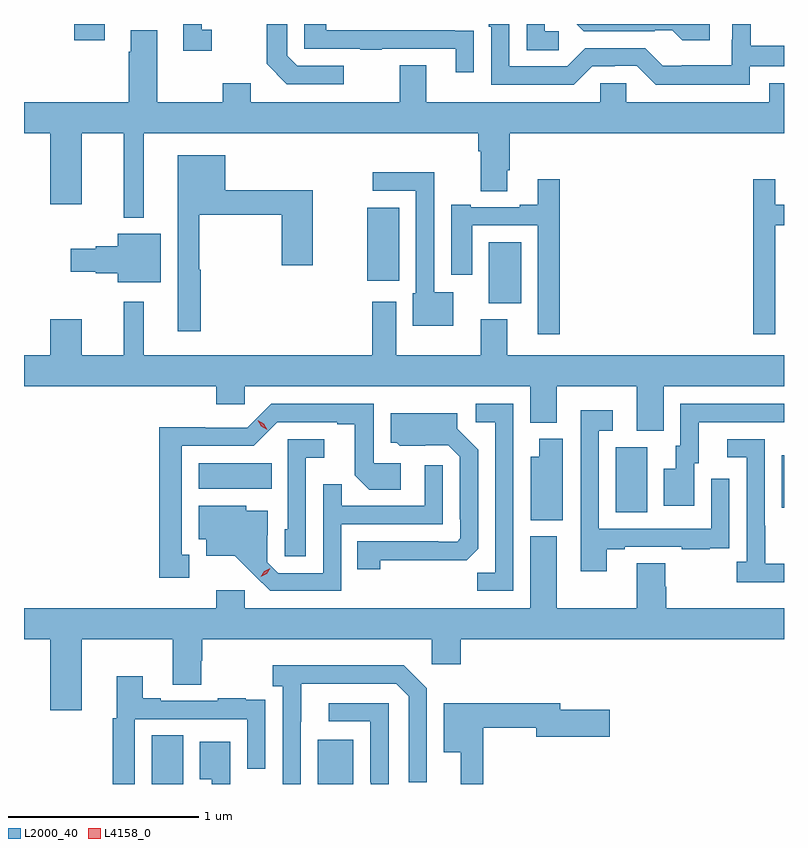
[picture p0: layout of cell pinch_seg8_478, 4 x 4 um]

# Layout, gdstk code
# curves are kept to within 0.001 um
import gdstk
lib = gdstk.Library(unit=1e-6, precision=1e-09)
def R(c, l, rs):  # rectangles x0, y0, x1, y1
    for r in rs: c.add(gdstk.rectangle(r[:2], r[2:], *l))
def P(c, l, *ps):  # polygons
    for p in ps: c.add(gdstk.Polygon(p, *l))
L2000_40 = (2000, 40)
L4158_0 = (4158, 0)

pinch_seg8_478 = lib.new_cell('pinch_seg8_478')
R(pinch_seg8_478, L2000_40, [(177.53,1134.387,177.694,1134.644), (178.403,1134.387,178.591,1134.619), (179.972,1135.816,180.136,1136.16), (180.845,1135.841,180.857,1136.116), (177.776,1135.94,178.16,1136.074), (179.303,1136.918,179.473,1137.238), (178.664,1137.035,178.831,1137.421), (177.121,1138.302,177.283,1138.387)])
P(pinch_seg8_478, L2000_40, [(180.466,1138.387),(179.767,1138.387),(179.804,1138.35),(180.176,1138.35),(180.176,1138.353),(180.27,1138.353),(180.322,1138.301),(180.466,1138.301)],
  [(177.844,1138.358),(177.792,1138.358),(177.792,1138.387),(177.695,1138.387),(177.695,1138.245),(177.844,1138.245)],
  [(179.225,1138.352),(179.123,1138.352),(179.123,1138.353),(178.448,1138.353),(178.448,1138.387),(178.332,1138.387),(178.332,1138.257),(178.627,1138.257),(178.627,1138.252),(178.739,1138.252),(178.739,1138.257),(179.129,1138.257),(179.129,1138.134),(179.225,1138.134)],
  [(178.54,1138.167),(178.296,1138.167),(178.242,1138.221),(178.242,1138.387),(178.134,1138.387),(178.134,1138.177),(178.239,1138.071),(178.54,1138.071)],
  [(180.678,1138.164),(180.857,1138.164),(180.857,1138.273),(180.683,1138.273),(180.683,1138.387),(180.584,1138.387),(180.584,1138.305),(180.582,1138.305),(180.582,1138.171),(180.319,1138.171),(180.319,1138.167),(180.219,1138.167),(180.126,1138.26),(179.811,1138.26),(179.715,1138.164),(179.412,1138.164),(179.412,1138.387),(179.303,1138.387),(179.303,1138.373),(179.316,1138.373),(179.316,1138.068),(179.751,1138.068),(179.847,1138.164),(179.966,1138.164),(179.966,1138.167),(180.081,1138.167),(180.181,1138.067),(180.678,1138.067)],
  [(179.671,1138.35),(179.598,1138.35),(179.598,1138.387),(179.502,1138.387),(179.502,1138.249),(179.671,1138.249)],
  [(177.487,1137.812),(179.249,1137.812),(179.249,1137.716),(179.261,1137.716),(179.261,1137.508),(179.401,1137.508),(179.401,1137.616),(179.414,1137.616),(179.414,1137.812),(180.857,1137.812),(180.857,1138.075),(180.779,1138.075),(180.779,1137.976),(180.027,1137.976),(180.027,1138.074),(179.889,1138.074),(179.889,1137.976),(178.975,1137.976),(178.975,1138.171),(178.835,1138.171),(178.835,1137.976),(178.051,1137.976),(178.051,1138.075),(177.904,1138.075),(177.904,1137.976),(177.559,1137.976),(177.559,1138.354),(177.419,1138.354),(177.419,1138.241),(177.407,1138.241),(177.407,1137.976),(176.857,1137.976),(176.857,1137.812),(176.996,1137.812),(176.996,1137.438),(177.16,1137.438),(177.16,1137.812),(177.383,1137.812),(177.383,1137.368),(177.487,1137.368)],
  [(177.787,1137.093),(177.779,1137.093),(177.779,1137.382),(178.213,1137.382),(178.213,1137.117),(178.378,1137.117),(178.378,1137.511),(177.916,1137.511),(177.916,1137.697),(177.665,1137.697),(177.665,1136.769),(177.787,1136.769)],
  [(179.116,1136.974),(179.016,1136.974),(179.016,1137.608),(178.692,1137.608),(178.692,1137.51),(178.92,1137.51),(178.92,1136.97),(178.904,1136.97),(178.904,1136.798),(179.116,1136.798)],
  [(179.678,1137.571),(179.561,1137.571),(179.561,1137.436),(179.465,1137.436),(179.465,1137.423),(179.209,1137.423),(179.209,1137.436),(179.105,1137.436),(179.105,1137.066),(179.215,1137.066),(179.215,1137.327),(179.562,1137.327),(179.562,1136.754),(179.678,1136.754)],
  [(180.81,1137.327),(180.857,1137.327),(180.857,1137.436),(180.811,1137.436),(180.811,1137.571),(180.694,1137.571),(180.694,1136.754),(180.81,1136.754)],
  [(177.577,1137.283),(177.35,1137.283),(177.35,1137.218),(177.234,1137.218),(177.234,1137.205),(177.102,1137.205),(177.102,1137.083),(177.234,1137.083),(177.234,1137.076),(177.35,1137.076),(177.35,1137.029),(177.577,1137.029)],
  [(180.223,1136.48),(180.857,1136.48),(180.857,1136.644),(179.401,1136.644),(179.401,1136.833),(179.261,1136.833),(179.261,1136.644),(178.816,1136.644),(178.816,1136.926),(178.691,1136.926),(178.691,1136.644),(177.487,1136.644),(177.487,1136.926),(177.383,1136.926),(177.383,1136.644),(177.16,1136.644),(177.16,1136.833),(176.996,1136.833),(176.996,1136.644),(176.857,1136.644),(176.857,1136.48),(177.869,1136.48),(177.869,1136.387),(178.02,1136.387),(178.02,1136.48),(179.522,1136.48),(179.522,1136.288),(179.662,1136.288),(179.662,1136.48),(180.083,1136.48),(180.083,1136.245),(180.223,1136.245)],
  [(180.385,1136.076),(180.409,1136.076),(180.409,1136.292),(180.857,1136.292),(180.857,1136.388),(180.312,1136.388),(180.312,1136.166),(180.287,1136.166),(180.287,1136.047),(180.224,1136.047),(180.224,1135.851),(180.385,1135.851)],
  [(179.433,1136.388),(179.235,1136.388),(179.235,1136.292),(179.337,1136.292),(179.337,1135.499),(179.242,1135.499),(179.242,1135.404),(179.433,1135.404)],
  [(177.727,1135.593),(177.688,1135.593),(177.688,1136.166),(178.065,1136.166),(178.191,1136.292),(178.505,1136.292),(178.505,1136.28),(178.599,1136.28),(178.599,1136.012),(178.675,1135.936),(178.84,1135.936),(178.84,1136.076),(178.698,1136.076),(178.698,1136.388),(178.158,1136.388),(178.032,1136.262),(177.81,1136.262),(177.81,1136.264),(177.57,1136.264),(177.57,1135.473),(177.727,1135.473)],
  [(179.923,1135.623),(180.019,1135.623),(180.019,1135.635),(180.319,1135.635),(180.319,1135.623),(180.467,1135.623),(180.467,1135.629),(180.569,1135.629),(180.569,1135.738),(180.57,1135.738),(180.57,1135.993),(180.474,1135.993),(180.474,1135.731),(179.883,1135.731),(179.883,1136.247),(179.956,1136.247),(179.956,1136.353),(179.787,1136.353),(179.787,1135.506),(179.923,1135.506)],
  [(178.731,1135.564),(179.188,1135.565),(179.247,1135.624),(179.247,1136.146),(179.137,1136.256),(179.137,1136.338),(178.787,1136.338),(178.787,1136.184),(178.818,1136.184),(178.834,1136.168),(179.091,1136.169),(179.151,1136.109),(179.151,1135.78),(179.154,1135.78),(179.154,1135.68),(179.136,1135.662),(179.036,1135.662),(179.036,1135.665),(178.612,1135.665),(178.612,1135.518),(178.731,1135.518)],
  [(179.692,1136.203),(179.57,1136.203),(179.57,1136.11),(179.525,1136.11),(179.525,1135.775),(179.692,1135.775)],
  [(178.341,1136.105),(178.438,1136.105),(178.438,1136.202),(178.245,1136.202),(178.245,1135.728),(178.23,1135.728),(178.23,1135.585),(178.341,1135.585)],
  [(180.857,1135.545),(180.757,1135.545),(180.757,1135.745),(180.756,1135.745),(180.756,1136.202),(180.558,1136.202),(180.558,1136.106),(180.66,1136.106),(180.66,1135.558),(180.609,1135.558),(180.609,1135.448),(180.857,1135.448)],
  [(178.527,1135.755),(179.061,1135.755),(179.061,1136.065),(178.965,1136.065),(178.965,1135.851),(178.529,1135.851),(178.529,1135.964),(178.431,1135.964),(178.431,1135.497),(178.194,1135.497),(178.137,1135.554),(178.137,1135.696),(178.141,1135.696),(178.141,1135.825),(178.026,1135.825),(178.026,1135.852),(177.776,1135.852),(177.776,1135.676),(177.815,1135.676),(177.815,1135.589),(177.967,1135.589),(178.154,1135.404),(178.527,1135.404)],
  [(177.16,1135.148),(177.641,1135.148),(177.641,1134.91),(177.789,1134.91),(177.789,1135.035),(177.794,1135.035),(177.794,1135.148),(179.004,1135.148),(179.004,1135.017),(179.156,1135.017),(179.156,1135.148),(180.857,1135.148),(180.857,1135.312),(180.236,1135.312),(180.236,1135.425),(180.231,1135.425),(180.231,1135.55),(180.083,1135.55),(180.083,1135.312),(179.662,1135.312),(179.662,1135.69),(179.522,1135.69),(179.522,1135.312),(178.02,1135.312),(178.02,1135.408),(177.869,1135.408),(177.869,1135.312),(176.857,1135.312),(176.857,1135.148),(176.996,1135.148),(176.996,1134.774),(177.16,1134.774)],
  [(178.314,1134.715),(178.315,1134.915),(178.815,1134.915),(178.881,1134.849),(178.881,1134.396),(178.977,1134.396),(178.977,1134.891),(178.856,1135.012),(178.167,1135.012),(178.167,1134.902),(178.218,1134.902),(178.218,1134.387),(178.314,1134.387)],
  [(177.441,1134.729),(178.032,1134.729),(178.032,1134.468),(178.128,1134.468),(178.128,1134.722),(178.127,1134.722),(178.127,1134.831),(178.025,1134.831),(178.025,1134.838),(177.877,1134.838),(177.877,1134.825),(177.577,1134.825),(177.577,1134.838),(177.481,1134.838),(177.481,1134.955),(177.344,1134.955),(177.344,1134.732),(177.325,1134.732),(177.325,1134.387),(177.441,1134.387)],
  [(178.776,1134.813),(178.461,1134.813),(178.461,1134.717),(178.68,1134.717),(178.68,1134.397),(178.683,1134.397),(178.683,1134.387),(178.776,1134.387)],
  [(179.273,1134.682),(179.552,1134.682),(179.552,1134.635),(179.941,1134.635),(179.941,1134.777),(179.68,1134.777),(179.68,1134.811),(179.066,1134.811),(179.066,1134.554),(179.156,1134.554),(179.156,1134.387),(179.273,1134.387)],
  [(177.943,1134.61),(177.782,1134.61),(177.782,1134.413),(177.845,1134.413),(177.845,1134.387),(177.943,1134.387)])
P(pinch_seg8_478, L4158_0, [(178.103,1135.478),(178.103,1135.478),(178.121,1135.508),(178.152,1135.523),(178.152,1135.523),(178.152,1135.523),(178.135,1135.493),(178.104,1135.478)],
  [(178.136,1136.251),(178.105,1136.27),(178.087,1136.302),(178.087,1136.302),(178.087,1136.302),(178.119,1136.284),(178.136,1136.251),(178.136,1136.251)])

lib.write_gds('pinch_seg8_478.gds')
